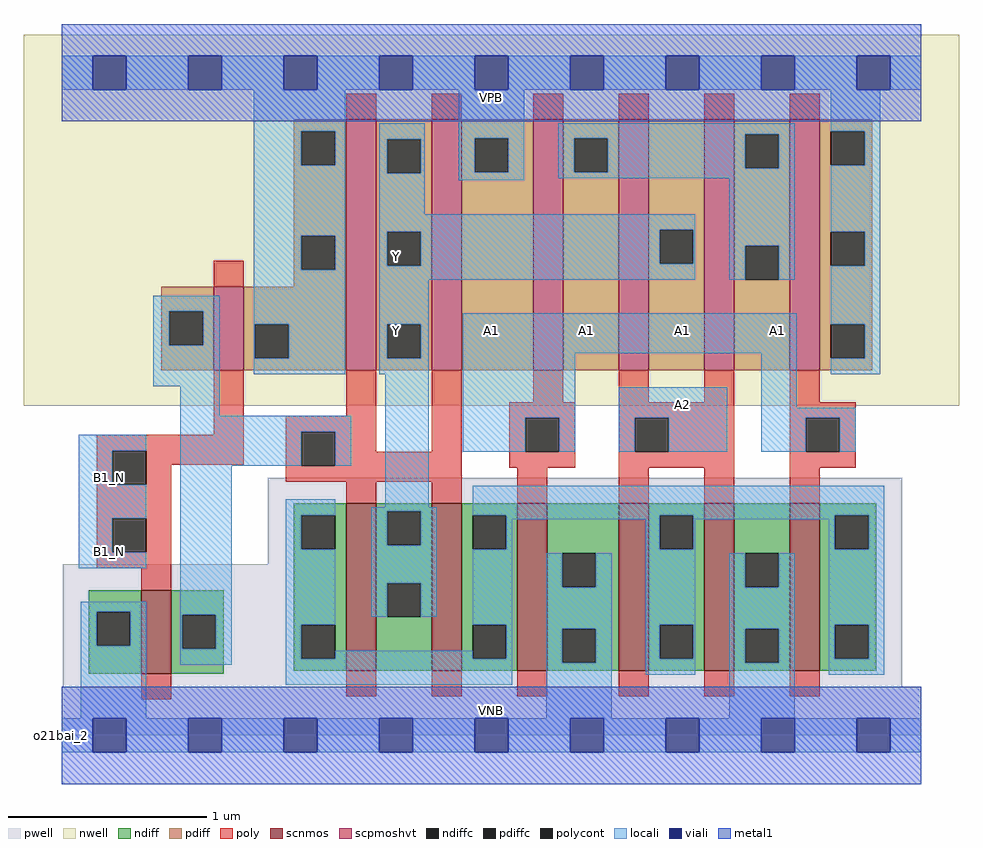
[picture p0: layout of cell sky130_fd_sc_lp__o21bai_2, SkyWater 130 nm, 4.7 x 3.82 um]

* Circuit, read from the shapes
.subckt sky130_fd_sc_lp__o21bai_2 A1 A2 B1_N VGND VNB VPB VPWR Y
XM1 n1 B1_N VGND VNB sky130_fd_pr__nfet_01v8 w=0.42 l=0.15
XM2 Y n1 n2 VNB sky130_fd_pr__nfet_01v8 w=0.84 l=0.15 m=2
XM3 VGND A1 n2 VNB sky130_fd_pr__nfet_01v8 w=0.84 l=0.15 m=2
XM4 n2 A2 VGND VNB sky130_fd_pr__nfet_01v8 w=0.84 l=0.15 m=2
XM5 VPWR B1_N n1 VPB sky130_fd_pr__pfet_01v8_hvt w=0.42 l=0.15
XM6 Y n1 VPWR VPB sky130_fd_pr__pfet_01v8_hvt w=1.26 l=0.15 m=2
XM7 n3 A1 VPWR VPB sky130_fd_pr__pfet_01v8_hvt w=1.26 l=0.15 m=2
XM8 Y A2 n3 VPB sky130_fd_pr__pfet_01v8_hvt w=1.26 l=0.15 m=2
.ends

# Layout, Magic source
magic
tech sky130A
magscale 1 2
<< nwell >>
rect -38 331 902 704
<< pwell >>
rect 207 172 845 259
rect 1 49 845 172
rect 0 0 864 49
<< scnmos >>
rect 80 62 110 146
rect 286 65 316 233
rect 372 65 402 233
rect 458 65 488 233
rect 560 65 590 233
rect 646 65 676 233
rect 732 65 762 233
<< scpmoshvt >>
rect 153 367 183 451
rect 286 367 316 619
rect 372 367 402 619
rect 474 367 504 619
rect 560 367 590 619
rect 646 367 676 619
rect 732 367 762 619
<< ndiff >>
rect 233 221 286 233
rect 233 187 241 221
rect 275 187 286 221
rect 27 124 80 146
rect 27 90 35 124
rect 69 90 80 124
rect 27 62 80 90
rect 110 121 163 146
rect 110 87 121 121
rect 155 87 163 121
rect 110 62 163 87
rect 233 111 286 187
rect 233 77 241 111
rect 275 77 286 111
rect 233 65 286 77
rect 316 225 372 233
rect 316 191 327 225
rect 361 191 372 225
rect 316 153 372 191
rect 316 119 327 153
rect 361 119 372 153
rect 316 65 372 119
rect 402 221 458 233
rect 402 187 413 221
rect 447 187 458 221
rect 402 111 458 187
rect 402 77 413 111
rect 447 77 458 111
rect 402 65 458 77
rect 488 183 560 233
rect 488 149 503 183
rect 537 149 560 183
rect 488 107 560 149
rect 488 73 503 107
rect 537 73 560 107
rect 488 65 560 73
rect 590 221 646 233
rect 590 187 601 221
rect 635 187 646 221
rect 590 111 646 187
rect 590 77 601 111
rect 635 77 646 111
rect 590 65 646 77
rect 676 183 732 233
rect 676 149 687 183
rect 721 149 732 183
rect 676 107 732 149
rect 676 73 687 107
rect 721 73 732 107
rect 676 65 732 73
rect 762 221 819 233
rect 762 187 777 221
rect 811 187 819 221
rect 762 111 819 187
rect 762 77 777 111
rect 811 77 819 111
rect 762 65 819 77
<< pdiff >>
rect 233 607 286 619
rect 233 573 241 607
rect 275 573 286 607
rect 233 502 286 573
rect 233 468 241 502
rect 275 468 286 502
rect 233 451 286 468
rect 100 426 153 451
rect 100 392 108 426
rect 142 392 153 426
rect 100 367 153 392
rect 183 413 286 451
rect 183 379 194 413
rect 228 379 286 413
rect 183 367 286 379
rect 316 599 372 619
rect 316 565 327 599
rect 361 565 372 599
rect 316 506 372 565
rect 316 472 327 506
rect 361 472 372 506
rect 316 413 372 472
rect 316 379 327 413
rect 361 379 372 413
rect 316 367 372 379
rect 402 600 474 619
rect 402 566 415 600
rect 449 566 474 600
rect 402 367 474 566
rect 504 600 560 619
rect 504 566 515 600
rect 549 566 560 600
rect 504 367 560 566
rect 590 508 646 619
rect 590 474 601 508
rect 635 474 646 508
rect 590 367 646 474
rect 676 604 732 619
rect 676 570 687 604
rect 721 570 732 604
rect 676 492 732 570
rect 676 458 687 492
rect 721 458 732 492
rect 676 367 732 458
rect 762 607 815 619
rect 762 573 773 607
rect 807 573 815 607
rect 762 506 815 573
rect 762 472 773 506
rect 807 472 815 506
rect 762 413 815 472
rect 762 379 773 413
rect 807 379 815 413
rect 762 367 815 379
<< ndiffc >>
rect 241 187 275 221
rect 35 90 69 124
rect 121 87 155 121
rect 241 77 275 111
rect 327 191 361 225
rect 327 119 361 153
rect 413 187 447 221
rect 413 77 447 111
rect 503 149 537 183
rect 503 73 537 107
rect 601 187 635 221
rect 601 77 635 111
rect 687 149 721 183
rect 687 73 721 107
rect 777 187 811 221
rect 777 77 811 111
<< pdiffc >>
rect 241 573 275 607
rect 241 468 275 502
rect 108 392 142 426
rect 194 379 228 413
rect 327 565 361 599
rect 327 472 361 506
rect 327 379 361 413
rect 415 566 449 600
rect 515 566 549 600
rect 601 474 635 508
rect 687 570 721 604
rect 687 458 721 492
rect 773 573 807 607
rect 773 472 807 506
rect 773 379 807 413
<< poly >>
rect 286 619 316 645
rect 372 619 402 645
rect 474 619 504 645
rect 560 619 590 645
rect 646 619 676 645
rect 732 619 762 645
rect 153 451 183 477
rect 153 302 183 367
rect 286 321 316 367
rect 35 286 183 302
rect 35 252 51 286
rect 85 272 183 286
rect 225 305 316 321
rect 85 252 110 272
rect 225 271 241 305
rect 275 285 316 305
rect 372 285 402 367
rect 474 335 504 367
rect 560 335 590 367
rect 646 335 676 367
rect 275 271 402 285
rect 225 255 402 271
rect 450 319 516 335
rect 450 285 466 319
rect 500 285 516 319
rect 450 269 516 285
rect 560 319 676 335
rect 560 285 576 319
rect 610 285 676 319
rect 560 269 676 285
rect 35 218 110 252
rect 286 233 316 255
rect 372 233 402 255
rect 458 233 488 269
rect 560 233 590 269
rect 646 233 676 269
rect 732 335 762 367
rect 732 319 798 335
rect 732 285 748 319
rect 782 285 798 319
rect 732 269 798 285
rect 732 233 762 269
rect 35 184 51 218
rect 85 184 110 218
rect 35 168 110 184
rect 80 146 110 168
rect 80 36 110 62
rect 286 39 316 65
rect 372 39 402 65
rect 458 39 488 65
rect 560 39 590 65
rect 646 39 676 65
rect 732 39 762 65
<< polycont >>
rect 51 252 85 286
rect 241 271 275 305
rect 466 285 500 319
rect 576 285 610 319
rect 748 285 782 319
rect 51 184 85 218
<< locali >>
rect 0 649 31 683
rect 65 649 127 683
rect 161 649 223 683
rect 257 649 319 683
rect 353 649 415 683
rect 449 649 511 683
rect 545 649 607 683
rect 641 649 703 683
rect 737 649 799 683
rect 833 649 864 683
rect 193 607 285 649
rect 193 573 241 607
rect 275 573 285 607
rect 193 502 285 573
rect 193 468 241 502
rect 275 468 285 502
rect 92 426 159 442
rect 92 392 108 426
rect 142 392 159 426
rect 92 351 159 392
rect 193 413 285 468
rect 193 379 194 413
rect 228 379 285 413
rect 193 363 285 379
rect 319 599 365 615
rect 319 565 327 599
rect 361 565 365 599
rect 319 524 365 565
rect 399 600 465 649
rect 399 566 415 600
rect 449 566 465 600
rect 399 558 465 566
rect 499 604 737 615
rect 499 600 687 604
rect 499 566 515 600
rect 549 570 687 600
rect 721 570 737 604
rect 549 566 737 570
rect 499 560 737 566
rect 319 508 637 524
rect 319 506 601 508
rect 319 472 327 506
rect 361 474 601 506
rect 635 474 637 508
rect 361 472 637 474
rect 319 458 637 472
rect 671 492 737 560
rect 671 458 687 492
rect 721 458 737 492
rect 773 607 823 649
rect 807 573 823 607
rect 773 506 823 573
rect 807 472 823 506
rect 319 413 369 458
rect 319 379 327 413
rect 361 379 369 413
rect 319 363 369 379
rect 119 321 159 351
rect 119 305 291 321
rect 17 286 85 302
rect 17 252 51 286
rect 17 218 85 252
rect 17 184 51 218
rect 17 168 85 184
rect 119 271 241 305
rect 275 271 291 305
rect 19 124 85 134
rect 19 90 35 124
rect 69 90 85 124
rect 19 17 85 90
rect 119 121 171 271
rect 119 87 121 121
rect 155 87 171 121
rect 119 71 171 87
rect 225 221 275 237
rect 325 229 369 363
rect 403 384 739 424
rect 403 319 516 384
rect 403 285 466 319
rect 500 285 516 319
rect 560 319 669 350
rect 560 285 576 319
rect 610 285 669 319
rect 703 329 739 384
rect 773 413 823 472
rect 807 379 823 413
rect 773 363 823 379
rect 703 319 798 329
rect 703 285 748 319
rect 782 285 798 319
rect 225 187 241 221
rect 225 111 275 187
rect 311 225 377 229
rect 311 191 327 225
rect 361 191 377 225
rect 311 153 377 191
rect 311 119 327 153
rect 361 119 377 153
rect 413 221 827 251
rect 447 217 601 221
rect 447 187 453 217
rect 225 77 241 111
rect 413 111 453 187
rect 587 187 601 217
rect 635 217 777 221
rect 635 187 637 217
rect 275 77 413 85
rect 447 77 453 111
rect 225 51 453 77
rect 487 149 503 183
rect 537 149 553 183
rect 487 107 553 149
rect 487 73 503 107
rect 537 73 553 107
rect 487 17 553 73
rect 587 111 637 187
rect 771 187 777 217
rect 811 187 827 221
rect 587 77 601 111
rect 635 77 637 111
rect 587 61 637 77
rect 671 149 687 183
rect 721 149 737 183
rect 671 107 737 149
rect 671 73 687 107
rect 721 73 737 107
rect 671 17 737 73
rect 771 111 827 187
rect 771 77 777 111
rect 811 77 827 111
rect 771 61 827 77
rect 0 -17 31 17
rect 65 -17 127 17
rect 161 -17 223 17
rect 257 -17 319 17
rect 353 -17 415 17
rect 449 -17 511 17
rect 545 -17 607 17
rect 641 -17 703 17
rect 737 -17 799 17
rect 833 -17 864 17
<< viali >>
rect 31 649 65 683
rect 127 649 161 683
rect 223 649 257 683
rect 319 649 353 683
rect 415 649 449 683
rect 511 649 545 683
rect 607 649 641 683
rect 703 649 737 683
rect 799 649 833 683
rect 31 -17 65 17
rect 127 -17 161 17
rect 223 -17 257 17
rect 319 -17 353 17
rect 415 -17 449 17
rect 511 -17 545 17
rect 607 -17 641 17
rect 703 -17 737 17
rect 799 -17 833 17
<< metal1 >>
rect 0 683 864 715
rect 0 649 31 683
rect 65 649 127 683
rect 161 649 223 683
rect 257 649 319 683
rect 353 649 415 683
rect 449 649 511 683
rect 545 649 607 683
rect 641 649 703 683
rect 737 649 799 683
rect 833 649 864 683
rect 0 617 864 649
rect 0 17 864 49
rect 0 -17 31 17
rect 65 -17 127 17
rect 161 -17 223 17
rect 257 -17 319 17
rect 353 -17 415 17
rect 449 -17 511 17
rect 545 -17 607 17
rect 641 -17 703 17
rect 737 -17 799 17
rect 833 -17 864 17
rect 0 -49 864 -17
<< labels >>
flabel pwell s 0 0 864 49 0 FreeSans 200 0 0 0 VNB
port 5 nsew ground bidirectional
flabel nwell s 0 617 864 666 0 FreeSans 200 0 0 0 VPB
port 6 nsew power bidirectional
rlabel comment s 0 0 0 0 4 o21bai_2
flabel metal1 s 0 617 864 666 0 FreeSans 340 0 0 0 VPWR
port 7 nsew power bidirectional
flabel metal1 s 0 0 864 49 0 FreeSans 340 0 0 0 VGND
port 4 nsew ground bidirectional
flabel locali s 319 390 353 424 0 FreeSans 340 0 0 0 Y
port 8 nsew signal output
flabel locali s 319 464 353 498 0 FreeSans 340 0 0 0 Y
port 8 nsew signal output
flabel locali s 415 390 449 424 0 FreeSans 340 0 0 0 A1
port 1 nsew signal input
flabel locali s 511 390 545 424 0 FreeSans 340 0 0 0 A1
port 1 nsew signal input
flabel locali s 607 390 641 424 0 FreeSans 340 0 0 0 A1
port 1 nsew signal input
flabel locali s 703 390 737 424 0 FreeSans 340 0 0 0 A1
port 1 nsew signal input
flabel locali s 607 316 641 350 0 FreeSans 340 0 0 0 A2
port 2 nsew signal input
flabel locali s 31 168 65 202 0 FreeSans 340 0 0 0 B1_N
port 3 nsew signal input
flabel locali s 31 242 65 276 0 FreeSans 340 0 0 0 B1_N
port 3 nsew signal input
<< properties >>
string LEFsite unit
string LEFclass CORE
string FIXED_BBOX 0 0 864 666
string GDS_FILE $PDKPATH/libs.ref/sky130_fd_sc_lp/gds/sky130_fd_sc_lp.gds
string LEFsymmetry X Y R90
string GDS_END 5202882
string GDS_START 5195074
<< end >>
